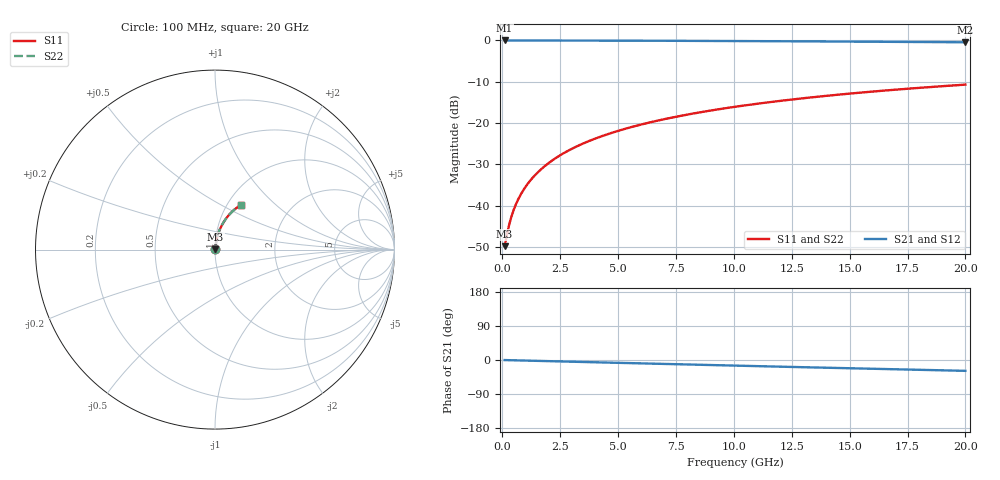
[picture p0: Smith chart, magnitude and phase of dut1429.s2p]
! Touchstone file exported from HFSS 2026.1.0
!  File:  C:/ffzhzh/LocalFiles/Ansys_Project_Files/temp_train_TMRDL_1429_1783166849_18472.aedt
!  Generated:  08:08:41 PM Jul  4, 2026
!  Design:  TMRDL
!  Project:  temp_train_TMRDL_1429_1783166849_18472
! Variables:
!  h_bsmrdl = 2um
!  h_ox = 20um
!  h_rdl = 5um
!  h_sub = 80um
!  h_tmrdl = 3.03um
!  h_tsv = 80um
!  h_via = 3um
!  l_bsmrdl = 300um
!  l_sub = 783.64um
!  l_tmrdl = 383.64um
!  m_sub = 200um
!  pitch = 42.57um
!  r_tsv = 6um
!  s_tmrdl = 10um
!  w_bsmrdl = 18um
!  w_sub = 500um
!  w_tmrdl = 17.97um
!  x_tsv_center1 = 392.625um
!  x_tsv_center2 = 710.625um
!  x_tsv_center3 = 1112.235um
!  x_tsv_center4 = 1430.235um
!  x_tsv_center5 = 1831.845um
!  x_tsv_center6 = 2149.845um
# GHz S MA R 50.000000
! Terminal data exported
! Port[1] = TM_RDL1_1_T1
! Port[2] = TM_RDL1_1_T2
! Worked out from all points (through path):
!   200 points, 100 MHz to 20 GHz, reference 50 ohm
!   highest |S21| = -0.02 dB at 100 MHz (marker M1); lowest = -0.5 dB at 20 GHz (marker M2)
!   group delay of S21, straight-line fit = 3.98 ps
!   lowest |S11| = -49.8 dB at 100 MHz (marker M3), VSWR 1.01, Z = 50.3 + j0.176 ohm
!   |S11| at or under -10 dB: start of sweep to end of sweep
!   |S22| runs from -49.8 to -10.7 dB; largest |S21 - S12| = 3.1e-15
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0.1  0.003219 32.9  0.9973 -0.2  0.9973 -0.2  0.003219 32.9
! Gamma 0 0 0 0
! Port Impedance 50 0 50 0
0.2  0.004448 51.2  0.9972 -0.3  0.9972 -0.3  0.004448 51.2
0.3  0.005907 60.6  0.9971 -0.5  0.9971 -0.5  0.005907 60.6
0.4  0.007433 66.0  0.997 -0.6  0.997 -0.6  0.007433 66.0
0.5  0.008977 69.5  0.9969 -0.8  0.9969 -0.8  0.008978 69.5
0.6  0.01053 71.9  0.9968 -0.9  0.9968 -0.9  0.01053 71.9
0.8  0.01365 75.2  0.9967 -1.2  0.9967 -1.2  0.01365 75.2
1.1  0.01836 77.9  0.9965 -1.7  0.9965 -1.7  0.01836 77.9
1.3  0.02152 79.0  0.9964 -2.0  0.9964 -2.0  0.02152 79.0
1.6  0.02627 80.1  0.9962 -2.4  0.9962 -2.4  0.02627 80.1
2.1  0.03423 80.9  0.9959 -3.2  0.9959 -3.2  0.03423 80.9
2.7  0.04379 81.1  0.9954 -4.1  0.9954 -4.1  0.04379 81.1
3.5  0.05651 80.8  0.9945 -5.3  0.9945 -5.3  0.05651 80.8
4.2  0.06759 80.2  0.9936 -6.3  0.9936 -6.3  0.06759 80.2
5  0.08017 79.4  0.9924 -7.5  0.9924 -7.5  0.08017 79.4
5.9  0.0942 78.3  0.9909 -8.8  0.9909 -8.8  0.0942 78.3
6.8  0.1081 77.2  0.9891 -10.1  0.9891 -10.1  0.1081 77.2
8.3  0.1309 75.2  0.9858 -12.3  0.9858 -12.3  0.1309 75.2
10.1  0.1576 72.8  0.9813 -14.9  0.9813 -14.9  0.1576 72.8
13.4  0.2047 68.4  0.9715 -19.6  0.9715 -19.6  0.2047 68.3
16.7  0.2492 64.0  0.9602 -24.2  0.9602 -24.2  0.2492 63.9
20  0.291 59.7  0.9478 -28.6  0.9478 -28.6  0.291 59.6
